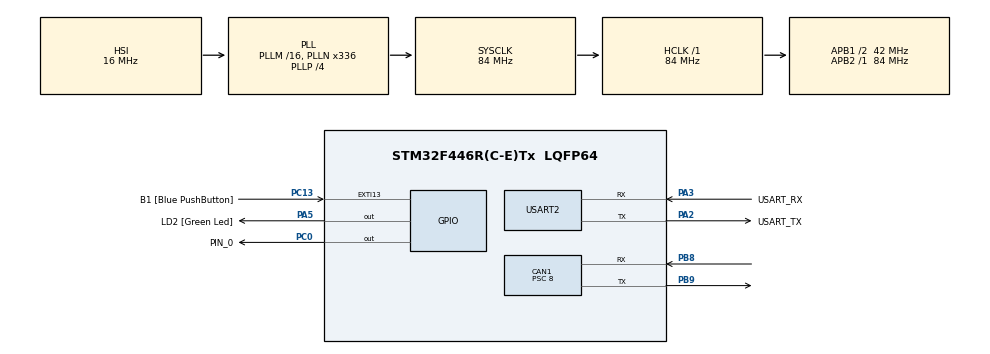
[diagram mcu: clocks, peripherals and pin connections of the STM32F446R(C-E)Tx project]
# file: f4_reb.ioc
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CAN1.BS1=CAN_BS1_14TQ
CAN1.BS2=CAN_BS2_6TQ
CAN1.CalculateBaudRate=250000
CAN1.CalculateTimeBit=4000
CAN1.CalculateTimeQuantum=190.47619047619048
CAN1.Prescaler=8
Mcu.Family=STM32F4
Mcu.Name=STM32F446R(C-E)Tx
Mcu.Package=LQFP64
NVIC.CAN1_RX0_IRQn=true\:0\:0\:false\:false\:true\:true\:true\:true
NVIC.EXTI15_10_IRQn=true\:0\:0\:false\:false\:true\:true\:true\:true
NVIC.PriorityGroup=NVIC_PRIORITYGROUP_0
PA13.GPIO_Label=TMS
PA13.Mode=Serial_Wire
PA13.Signal=SYS_JTMS-SWDIO
PA14.GPIO_Label=TCK
PA14.Mode=Serial_Wire
PA14.Signal=SYS_JTCK-SWCLK
PA2.GPIO_Label=USART_TX
PA2.Mode=Asynchronous
PA2.Signal=USART2_TX
PA3.GPIO_Label=USART_RX
PA3.Mode=Asynchronous
PA3.Signal=USART2_RX
PA5.GPIO_Label=LD2 [Green Led]
PA5.Signal=GPIO_Output
PB3.GPIO_Label=SWO
PB3.Signal=SYS_JTDO-SWO
PB8.Mode=CAN_Activate
PB8.Signal=CAN1_RX
PB9.Mode=CAN_Activate
PB9.Signal=CAN1_TX
PC0.GPIO_Label=PIN_0
PC0.Signal=GPIO_Output
PC13.GPIO_Label=B1 [Blue PushButton]
PC13.GPIO_ModeDefaultEXTI=GPIO_MODE_IT_RISING
PC13.Signal=GPXTI13
PC14-OSC32_IN.Mode=LSE-External-Oscillator
PC14-OSC32_IN.Signal=RCC_OSC32_IN
PC15-OSC32_OUT.Mode=LSE-External-Oscillator
PC15-OSC32_OUT.Signal=RCC_OSC32_OUT
PH0-OSC_IN.Mode=HSE-External-Oscillator
PH0-OSC_IN.Signal=RCC_OSC_IN
PH1-OSC_OUT.Mode=HSE-External-Oscillator
PH1-OSC_OUT.Signal=RCC_OSC_OUT
ProjectManager.HeapSize=0x200
ProjectManager.StackSize=0x400
ProjectManager.TargetToolchain=STM32CubeIDE
RCC.48MHZClocksFreq_Value=84000000
RCC.AHBFreq_Value=84000000
RCC.APB1CLKDivider=RCC_HCLK_DIV2
RCC.APB1Freq_Value=42000000
RCC.APB1TimFreq_Value=84000000
RCC.APB2Freq_Value=84000000
RCC.APB2TimFreq_Value=84000000
RCC.CortexFreq_Value=84000000
RCC.FLatency-AdvancedSettings=FLASH_LATENCY_2
RCC.HCLKFreq_Value=84000000
RCC.HSE_VALUE=8000000
RCC.HSI_VALUE=16000000
RCC.PLLN=336
RCC.PLLP=RCC_PLLP_DIV4
RCC.SYSCLKFreq_VALUE=84000000
RCC.SYSCLKSource=RCC_SYSCLKSOURCE_PLLCLK
RCC.USBFreq_Value=168000000
RCC.VCOOutputFreq_Value=336000000
USART2.VirtualMode=VM_ASYNC
board=NUCLEO-F446RE

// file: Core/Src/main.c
/* USER CODE BEGIN Header */
/**
 ******************************************************************************
 * @file           : main.c
 * @brief          : Main program body
 ******************************************************************************
 * @attention
 *
 * Copyright (c) 2025 STMicroelectronics.
 * All rights reserved.
 *
 * This software is licensed under terms that can be found in the LICENSE file
 * in the root directory of this software component.
 * If no LICENSE file comes with this software, it is provided AS-IS.
 *
 ******************************************************************************
 */
#include <string.h>
#include "app.h"
#include "mcal.h"
/* USER CODE END Header */
#include "main.h"

CAN_HandleTypeDef hcan1;

UART_HandleTypeDef huart2;

/* USER CODE BEGIN PV */

CAN_HandleTypeDef hcan1;
UART_HandleTypeDef huart2;

uint8_t msg[64];  // buffer para UART
CAN_RxHeaderTypeDef rxHeader;
uint8_t rxData[8];  // dados CAN (até 8 bytes)

/* USER CODE END PV */

void SystemClock_Config(void);
static void MX_GPIO_Init(void);
static void MX_USART2_UART_Init(void);
static void MX_CAN1_Init(void);

int main(void)
{

  /* MCU Configuration--------------------------------------------------------*/

  /* Reset of all peripherals, Initializes the Flash interface and the Systick. */
  HAL_Init();

  /* Configure the system clock */
  SystemClock_Config();

  /* Initialize all configured peripherals */
  MX_GPIO_Init();
  MX_USART2_UART_Init();
  MX_CAN1_Init();
  /* USER CODE BEGIN 2 */

	sprintf(msg, "Iniciando\r\n");
	HAL_UART_Transmit(&huart2, &msg, strlen(msg), HAL_MAX_DELAY);

	if (HAL_CAN_ActivateNotification(&hcan1,
			CAN_IT_TX_MAILBOX_EMPTY | CAN_IT_RX_FIFO0_MSG_PENDING
					| CAN_IT_RX_FIFO0_FULL | CAN_IT_BUSOFF) != HAL_OK) {
		Error_Handler();
	}

	HAL_CAN_Start(&hcan1);

	uint8_t messageData[8] = { 0x01, 0x02, 0x03, 0x04, 0x05, 0x06, 0x07, 0x08 };

	uint8_t mailbox;

	CAN_TxHeaderTypeDef TxHeader;

	// Configure message
	TxHeader.StdId = 0x10; // Standard ID (11-bit)
	TxHeader.ExtId = 0x00; // Not used in standard ID mode
	TxHeader.IDE = CAN_ID_STD; // Standard identifier
	TxHeader.RTR = CAN_RTR_DATA; // Data frame (not remote)
	TxHeader.DLC = 8; // Data length (0-8 bytes)

  /* USER CODE END 2 */

  /* Infinite loop */
	while (1) {

    /* USER CODE BEGIN 3 */

		if (HAL_CAN_AddTxMessage(&hcan1, &TxHeader, &messageData, &mailbox)
				== HAL_OK) {
			sprintf(msg, "msg CAN enviado\r\n");
			HAL_UART_Transmit(&huart2, &msg, strlen(msg), HAL_MAX_DELAY);
		} else {
			sprintf(msg, "msg CAN ERROR\r\n");
			HAL_UART_Transmit(&huart2, &msg, strlen(msg), HAL_MAX_DELAY);
		}

		HAL_Delay(3000);
		countdown_reb();
	}
  /* USER CODE END 3 */
}

void SystemClock_Config(void)
{
  RCC_OscInitTypeDef RCC_OscInitStruct = {0};
  RCC_ClkInitTypeDef RCC_ClkInitStruct = {0};

  /** Configure the main internal regulator output voltage
  */
  __HAL_RCC_PWR_CLK_ENABLE();
  __HAL_PWR_VOLTAGESCALING_CONFIG(PWR_REGULATOR_VOLTAGE_SCALE3);

  /** Initializes the RCC Oscillators according to the specified parameters
  * in the RCC_OscInitTypeDef structure.
  */
  RCC_OscInitStruct.OscillatorType = RCC_OSCILLATORTYPE_HSI;
  RCC_OscInitStruct.HSIState = RCC_HSI_ON;
  RCC_OscInitStruct.HSICalibrationValue = RCC_HSICALIBRATION_DEFAULT;
  RCC_OscInitStruct.PLL.PLLState = RCC_PLL_ON;
  RCC_OscInitStruct.PLL.PLLSource = RCC_PLLSOURCE_HSI;
  RCC_OscInitStruct.PLL.PLLM = 16;
  RCC_OscInitStruct.PLL.PLLN = 336;
  RCC_OscInitStruct.PLL.PLLP = RCC_PLLP_DIV4;
  RCC_OscInitStruct.PLL.PLLQ = 2;
  RCC_OscInitStruct.PLL.PLLR = 2;
  if (HAL_RCC_OscConfig(&RCC_OscInitStruct) != HAL_OK)
  {
    Error_Handler();
  }

  /** Initializes the CPU, AHB and APB buses clocks
  */
  RCC_ClkInitStruct.ClockType = RCC_CLOCKTYPE_HCLK|RCC_CLOCKTYPE_SYSCLK
                              |RCC_CLOCKTYPE_PCLK1|RCC_CLOCKTYPE_PCLK2;
  RCC_ClkInitStruct.SYSCLKSource = RCC_SYSCLKSOURCE_PLLCLK;
  RCC_ClkInitStruct.AHBCLKDivider = RCC_SYSCLK_DIV1;
  RCC_ClkInitStruct.APB1CLKDivider = RCC_HCLK_DIV2;
  RCC_ClkInitStruct.APB2CLKDivider = RCC_HCLK_DIV1;

  if (HAL_RCC_ClockConfig(&RCC_ClkInitStruct, FLASH_LATENCY_2) != HAL_OK)
  {
    Error_Handler();
  }
}

static void MX_CAN1_Init(void)
{

  hcan1.Instance = CAN1;
  hcan1.Init.Prescaler = 8;
  hcan1.Init.Mode = CAN_MODE_NORMAL;
  hcan1.Init.SyncJumpWidth = CAN_SJW_1TQ;
  hcan1.Init.TimeSeg1 = CAN_BS1_14TQ;
  hcan1.Init.TimeSeg2 = CAN_BS2_6TQ;
  hcan1.Init.TimeTriggeredMode = DISABLE;
  hcan1.Init.AutoBusOff = DISABLE;
  hcan1.Init.AutoWakeUp = DISABLE;
  hcan1.Init.AutoRetransmission = DISABLE;
  hcan1.Init.ReceiveFifoLocked = DISABLE;
  hcan1.Init.TransmitFifoPriority = DISABLE;
  if (HAL_CAN_Init(&hcan1) != HAL_OK)
  {
    Error_Handler();
  }
  /* USER CODE BEGIN CAN1_Init 2 */

	CAN_FilterTypeDef filterConfig = { 0 };

	filterConfig.FilterActivation = ENABLE;
	filterConfig.FilterBank = 0;
	filterConfig.FilterFIFOAssignment = CAN_FILTER_FIFO0;
	filterConfig.FilterIdHigh = 0x0000;
	filterConfig.FilterIdLow = 0x0000;
	filterConfig.FilterMaskIdHigh = 0x0000;
	filterConfig.FilterMaskIdLow = 0x0000;
	filterConfig.FilterMode = CAN_FILTERMODE_IDMASK;
	filterConfig.FilterScale = CAN_FILTERSCALE_32BIT;
	filterConfig.SlaveStartFilterBank = 14;  // se estiver usando CAN2

	if (HAL_CAN_ConfigFilter(&hcan1, &filterConfig) != HAL_OK) {
		Error_Handler();
	}

  /* USER CODE END CAN1_Init 2 */

}

static void MX_USART2_UART_Init(void)
{

  huart2.Instance = USART2;
  huart2.Init.BaudRate = 115200;
  huart2.Init.WordLength = UART_WORDLENGTH_8B;
  huart2.Init.StopBits = UART_STOPBITS_1;
  huart2.Init.Parity = UART_PARITY_NONE;
  huart2.Init.Mode = UART_MODE_TX_RX;
  huart2.Init.HwFlowCtl = UART_HWCONTROL_NONE;
  huart2.Init.OverSampling = UART_OVERSAMPLING_16;
  if (HAL_UART_Init(&huart2) != HAL_OK)
  {
    Error_Handler();
  }

}

static void MX_GPIO_Init(void)
{
  GPIO_InitTypeDef GPIO_InitStruct = {0};

  /* GPIO Ports Clock Enable */
  __HAL_RCC_GPIOC_CLK_ENABLE();
  __HAL_RCC_GPIOH_CLK_ENABLE();
  __HAL_RCC_GPIOA_CLK_ENABLE();
  __HAL_RCC_GPIOB_CLK_ENABLE();

  /*Configure GPIO pin Output Level */
  HAL_GPIO_WritePin(PIN_0_GPIO_Port, PIN_0_Pin, GPIO_PIN_RESET);

  /*Configure GPIO pin Output Level */
  HAL_GPIO_WritePin(LD2_GPIO_Port, LD2_Pin, GPIO_PIN_RESET);

  /*Configure GPIO pin : B1_Pin */
  GPIO_InitStruct.Pin = B1_Pin;
  GPIO_InitStruct.Mode = GPIO_MODE_IT_RISING;
  GPIO_InitStruct.Pull = GPIO_NOPULL;
  HAL_GPIO_Init(B1_GPIO_Port, &GPIO_InitStruct);

  /*Configure GPIO pin : PIN_0_Pin */
  GPIO_InitStruct.Pin = PIN_0_Pin;
  GPIO_InitStruct.Mode = GPIO_MODE_OUTPUT_PP;
  GPIO_InitStruct.Pull = GPIO_NOPULL;
  GPIO_InitStruct.Speed = GPIO_SPEED_FREQ_LOW;
  HAL_GPIO_Init(PIN_0_GPIO_Port, &GPIO_InitStruct);

  /*Configure GPIO pin : LD2_Pin */
  GPIO_InitStruct.Pin = LD2_Pin;
  GPIO_InitStruct.Mode = GPIO_MODE_OUTPUT_PP;
  GPIO_InitStruct.Pull = GPIO_NOPULL;
  GPIO_InitStruct.Speed = GPIO_SPEED_FREQ_LOW;
  HAL_GPIO_Init(LD2_GPIO_Port, &GPIO_InitStruct);

  /* EXTI interrupt init*/
  HAL_NVIC_SetPriority(EXTI15_10_IRQn, 0, 0);
  HAL_NVIC_EnableIRQ(EXTI15_10_IRQn);

}

/* USER CODE BEGIN 4 */

HAL_CAN_RxFifo0MsgPendingCallback(CAN_HandleTypeDef *hcan) {
	sprintf(msg, "trigger RxFifo \r\n");
	HAL_UART_Transmit(&huart2, msg, strlen(msg), HAL_MAX_DELAY);
	if (HAL_CAN_GetRxMessage(hcan, CAN_RX_FIFO0, &rxHeader, rxData) == HAL_OK) {
		// Exemplo de tratamento: imprime ID e os dados via UART
		int len = sprintf((char*) msg, "CAN ID: 0x%X DLC: %d Data:",
				rxHeader.StdId, rxHeader.DLC);
		for (uint8_t i = 0; i < rxHeader.DLC; i++) {
			len += sprintf((char*) (msg + len), " %02X", rxData[i]);
		}
		sprintf((char*) (msg + len), "\r\n");
		HAL_UART_Transmit(&huart2, msg, strlen((char*) msg), HAL_MAX_DELAY);

		can_frame frame = { 0 };
		frame.can_id = rxHeader.StdId;
		frame.can_dlc = rxHeader.DLC;

		for (int i = 0; i < 8; i++) {
			frame.data[i] = rxData[i];
		}

		handle_frame_can(&frame);

	} else {
		const char *err = "Erro ao ler mensagem CAN\r\n";
		HAL_UART_Transmit(&huart2, err, strlen(err), HAL_MAX_DELAY);
	}

}

void HAL_GPIO_EXTI_Callback(uint16_t GPIO_Pin) {
	if (GPIO_Pin == GPIO_PIN_13)  // Verifica se a interrupção veio do PC13
	{
		// Alterna o estado do pino PC0
		HAL_GPIO_TogglePin(GPIOC, GPIO_PIN_0);

		// Envia uma mensagem pela UART
		sprintf(msg, "Button Interrupted - Toggled PC0\r\n");
		HAL_UART_Transmit(&huart2, (uint8_t*) msg, strlen(msg), HAL_MAX_DELAY);
	}
}

/* USER CODE END 4 */

void Error_Handler(void)
{
	__disable_irq();
	while (1) {
	}
}
